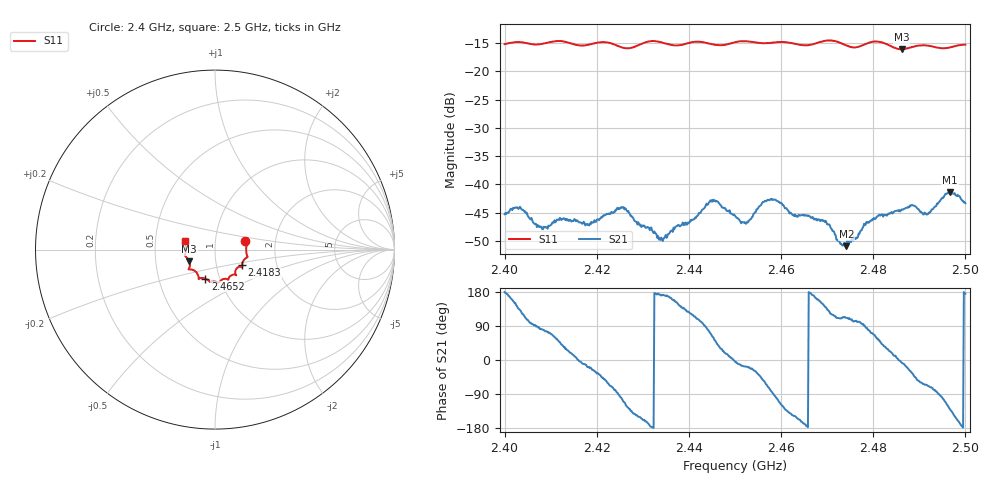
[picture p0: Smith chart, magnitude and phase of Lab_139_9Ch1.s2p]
# Hz S RI R 50
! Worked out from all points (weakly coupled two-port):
!   601 points, 2.4 GHz to 2.5 GHz, reference 50 ohm
!   highest |S21| = -41.36 dB at 2.4967 GHz (marker M1); lowest = -50.9 dB at 2.4742 GHz (marker M2)
!   lowest |S11| = -16.1 dB at 2.4862 GHz (marker M3), VSWR 1.37, Z = 37.2 - j4.89 ohm
!   |S11| at or under -10 dB: start of sweep to end of sweep
!   S12 and S22 are empty: the file has one direction only
!   S11 on the Smith chart (normalised r, x): 2.4 GHz: 1.40, +0.14; 2.4183 GHz: 1.33, -0.24; 2.4652 GHz: 0.85, -0.28; 2.5 GHz: 0.71, +0.07
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2.4e9  0.1679 0.0471  -0.00545 5.27e-05  0 0  0 0
2.403167e9  0.1792 0.0318  -0.0043 0.00445  0 0  0 0
2.408e9  0.1745 -0.0151  0.000604 0.00419  0 0  0 0
2.4125e9  0.1801 -0.0422  0.00383 0.00316  0 0  0 0
2.416667e9  0.1554 -0.0681  0.00456 -0.000518  0 0  0 0
2.418333e9  0.1499 -0.0864  0.00413 -0.00134  0 0  0 0
2.425667e9  0.1288 -0.0981  -0.00189 -0.006  0 0  0 0
2.433333e9  0.117 -0.1415  -0.00348 0.000282  0 0  0 0
2.44e9  0.0756 -0.1621  -0.0027 0.00368  0 0  0 0
2.444833e9  0.0635 -0.1629  0.0027 0.00652  0 0  0 0
2.45e9  0.0259 -0.1796  0.00528 -0.000334  0 0  0 0
2.4525e9  0.0197 -0.1839  0.00431 -0.00136  0 0  0 0
2.458167e9  -0.0177 -0.1789  0.000334 -0.00739  0 0  0 0
2.465167e9  -0.0545 -0.1614  -0.00529 -0.000969  0 0  0 0
2.466667e9  -0.0708 -0.1579  -0.00503 0.000668  0 0  0 0
2.474167e9  -0.0957 -0.1402  -0.00103 0.00265  0 0  0 0
2.4785e9  -0.1373 -0.1103  0.000466 0.00462  0 0  0 0
2.483333e9  -0.1414 -0.0966  0.00499 0.00238  0 0  0 0
2.486167e9  -0.1433 -0.0641  0.00597 -0.000762  0 0  0 0
2.491833e9  -0.1669 -0.0286  0.00209 -0.00512  0 0  0 0
2.496667e9  -0.1616 0.0225  -0.00553 -0.00653  0 0  0 0
2.5e9  -0.1662 0.0473  -0.0068 0.000589  0 0  0 0
